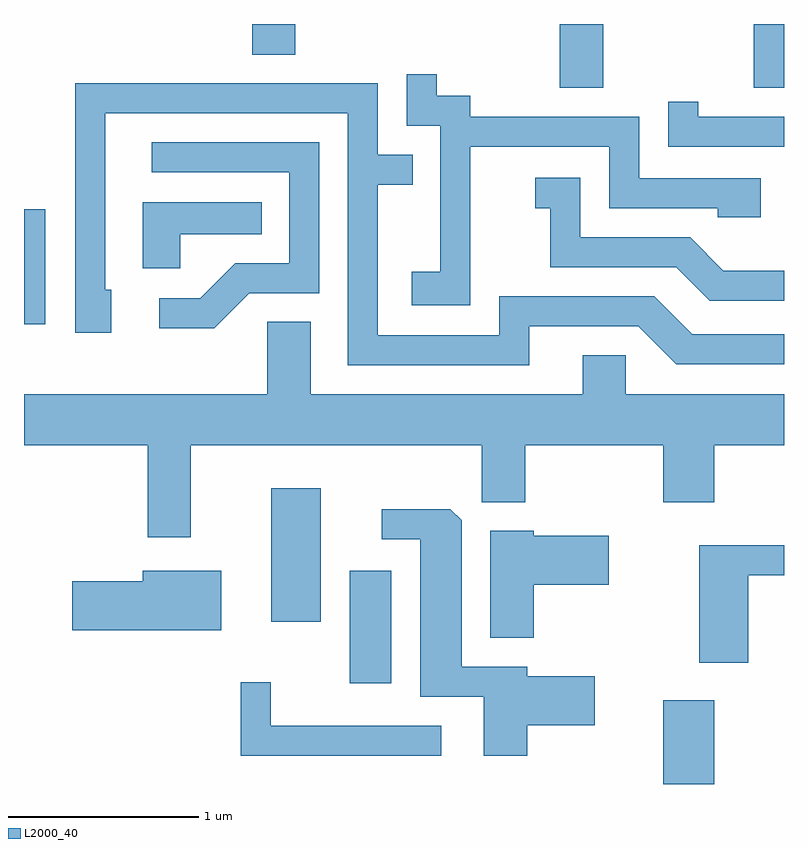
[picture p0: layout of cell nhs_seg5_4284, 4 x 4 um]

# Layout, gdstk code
import gdstk
lib = gdstk.Library(unit=1e-6, precision=1e-09)
def R(c, l, rs):  # rectangles x0, y0, x1, y1
    for r in rs: c.add(gdstk.rectangle(r[:2], r[2:], *l))
def P(c, l, *ps):  # polygons
    for p in ps: c.add(gdstk.Polygon(p, *l))
L2000_40 = (2000, 40)

nhs_seg5_4284 = lib.new_cell('nhs_seg5_4284')
R(nhs_seg5_4284, L2000_40, [(314.976,1506.072,315.244,1506.514), (313.326,1506.601,313.544,1507.194), (312.911,1506.926,313.174,1507.629), (311.611,1508.491,311.724,1509.098), (314.431,1509.736,314.659,1510.072), (315.451,1509.736,315.611,1510.072), (312.811,1509.911,313.039,1510.072)])
P(nhs_seg5_4284, L2000_40, [(313.959,1509.426),(314.691,1509.426),(314.691,1509.101),(315.261,1509.101),(315.261,1509.056),(315.489,1509.056),(315.489,1509.259),(314.849,1509.259),(314.849,1509.584),(313.959,1509.584),(313.959,1509.694),(313.784,1509.694),(313.784,1509.808),(313.626,1509.808),(313.626,1509.536),(313.801,1509.536),(313.801,1508.769),(313.651,1508.769),(313.651,1508.591),(313.959,1508.591)],
  [(314.269,1508.481),(314.844,1508.481),(315.044,1508.281),(315.611,1508.281),(315.611,1508.439),(315.127,1508.439),(314.927,1508.639),(314.111,1508.639),(314.111,1508.434),(313.474,1508.434),(313.474,1509.226),(313.658,1509.226),(313.658,1509.384),(313.474,1509.384),(313.474,1509.759),(311.881,1509.759),(311.881,1508.446),(312.069,1508.446),(312.069,1508.674),(312.039,1508.674),(312.039,1509.601),(313.316,1509.601),(313.316,1508.276),(314.269,1508.276)],
  [(315.611,1509.584),(315.159,1509.584),(315.159,1509.663),(315.001,1509.663),(315.001,1509.426),(315.611,1509.426)],
  [(312.797,1508.656),(313.164,1508.656),(313.164,1509.449),(312.283,1509.449),(312.283,1509.291),(313.006,1509.291),(313.006,1508.814),(312.724,1508.814),(312.539,1508.629),(312.323,1508.629),(312.323,1508.471),(312.612,1508.471)],
  [(315.611,1508.774),(315.292,1508.774),(315.117,1508.949),(314.539,1508.949),(314.539,1509.264),(314.303,1509.264),(314.303,1509.101),(314.381,1509.101),(314.381,1508.791),(315.044,1508.791),(315.219,1508.616),(315.611,1508.616)],
  [(312.434,1508.966),(312.863,1508.966),(312.863,1509.134),(312.236,1509.134),(312.236,1508.786),(312.434,1508.786)],
  [(312.489,1507.856),(314.021,1507.856),(314.021,1507.556),(314.249,1507.556),(314.249,1507.856),(314.976,1507.856),(314.976,1507.556),(315.244,1507.556),(315.244,1507.856),(315.611,1507.856),(315.611,1508.124),(314.779,1508.124),(314.779,1508.329),(314.551,1508.329),(314.551,1508.124),(313.119,1508.124),(313.119,1508.504),(312.891,1508.504),(312.891,1508.124),(311.611,1508.124),(311.611,1507.856),(312.261,1507.856),(312.261,1507.371),(312.489,1507.371)],
  [(314.259,1506.381),(314.614,1506.381),(314.614,1506.639),(314.259,1506.639),(314.259,1506.689),(313.914,1506.689),(313.914,1507.459),(313.854,1507.519),(313.493,1507.519),(313.493,1507.361),(313.696,1507.361),(313.696,1506.531),(314.031,1506.531),(314.031,1506.221),(314.259,1506.221)],
  [(314.294,1507.121),(314.689,1507.121),(314.689,1507.379),(314.294,1507.379),(314.294,1507.404),(314.066,1507.404),(314.066,1506.841),(314.294,1506.841)],
  [(315.424,1507.171),(315.611,1507.171),(315.611,1507.329),(315.166,1507.329),(315.166,1506.711),(315.424,1506.711)],
  [(312.649,1507.194),(312.236,1507.194),(312.236,1507.139),(311.866,1507.139),(311.866,1506.881),(312.649,1506.881)],
  [(313.808,1506.379),(312.909,1506.379),(312.909,1506.608),(312.751,1506.608),(312.751,1506.221),(313.808,1506.221)])

lib.write_gds('nhs_seg5_4284.gds')
